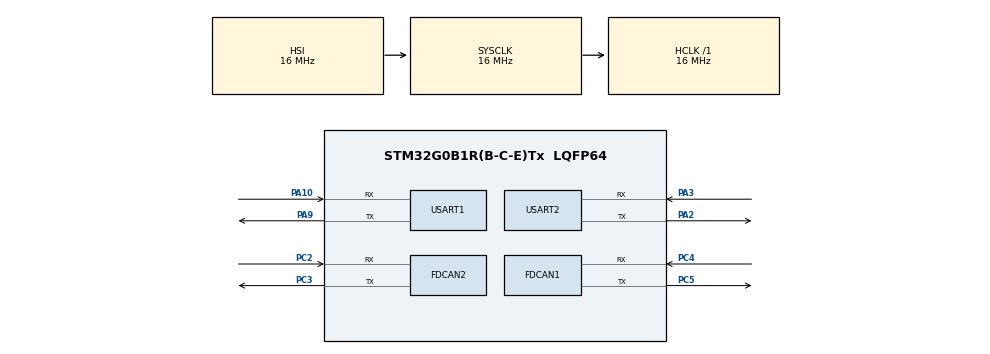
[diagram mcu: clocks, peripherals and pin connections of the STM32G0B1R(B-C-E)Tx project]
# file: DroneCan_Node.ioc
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FDCAN1.CalculateBaudRateNominal=333333
FDCAN1.CalculateTimeBitNominal=3000
FDCAN1.CalculateTimeQuantumNominal=1000.0
FDCAN2.CalculateBaudRateNominal=333333
FDCAN2.CalculateTimeBitNominal=3000
FDCAN2.CalculateTimeQuantumNominal=1000.0
Mcu.Family=STM32G0
Mcu.Name=STM32G0B1R(B-C-E)Tx
Mcu.Package=LQFP64
PA10.Mode=Asynchronous
PA10.Signal=USART1_RX
PA2.Mode=Asynchronous
PA2.Signal=USART2_TX
PA3.Mode=Asynchronous
PA3.Signal=USART2_RX
PA9.Mode=Asynchronous
PA9.Signal=USART1_TX
PC2.Mode=FDCAN_Activate
PC2.Signal=FDCAN2_RX
PC3.Mode=FDCAN_Activate
PC3.Signal=FDCAN2_TX
PC4.Mode=FDCAN_Activate
PC4.Signal=FDCAN1_RX
PC5.Mode=FDCAN_Activate
PC5.Signal=FDCAN1_TX
ProjectManager.HeapSize=0x200
ProjectManager.StackSize=0x400
ProjectManager.TargetToolchain=STM32CubeIDE
RCC.AHBFreq_Value=16000000
RCC.CortexFreq_Value=16000000
RCC.EXTERNAL_CLOCK_VALUE=48000
RCC.HCLKFreq_Value=16000000
RCC.HSE_VALUE=8000000
RCC.HSI48_VALUE=48000000
RCC.HSI_VALUE=16000000
RCC.LSE_VALUE=32768
RCC.SYSCLKFreq_VALUE=16000000
RCC.USBFreq_Value=48000000
RCC.VCOOutputFreq_Value=128000000
USART1.VirtualMode-Asynchronous=VM_ASYNC
USART2.VirtualMode-Asynchronous=VM_ASYNC
VP_SYS_VS_DBSignals.Mode=DisableDeadBatterySignals
board=custom

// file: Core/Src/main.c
/* USER CODE BEGIN Header */
/**
  ******************************************************************************
  * @file           : main.c
  * @brief          : Main program body
  ******************************************************************************
  * @attention
  *
  * Copyright (c) 2026 STMicroelectronics.
  * All rights reserved.
  *
  * This software is licensed under terms that can be found in the LICENSE file
  * in the root directory of this software component.
  * If no LICENSE file comes with this software, it is provided AS-IS.
  *
  ******************************************************************************
  */
/* USER CODE END Header */
#include "main.h"
#define HEAP_SIZE 16384

FDCAN_HandleTypeDef hfdcan1;
FDCAN_HandleTypeDef hfdcan2;

UART_HandleTypeDef huart1;
UART_HandleTypeDef huart2;

/* USER CODE BEGIN PV */
static uint8_t canard_heap[4096];

static canard_t canard;
static O1HeapInstance* heap;

/* USER CODE END PV */

void SystemClock_Config(void);
static void MX_GPIO_Init(void);
static void MX_FDCAN1_Init(void);
static void MX_FDCAN2_Init(void);
static void MX_USART1_UART_Init(void);
static void MX_USART2_UART_Init(void);

/* USER CODE BEGIN 0 */
static void on_test_message(
    canard_subscription_t* self,
    canard_us_t timestamp,
    canard_prio_t priority,
    uint_least8_t source_node_id,
    uint_least8_t transfer_id,
    canard_payload_t payload)
{
    (void)self;
    (void)timestamp;
    (void)priority;
    (void)source_node_id;
    (void)transfer_id;

    printf("RX %u bytes: ",
           (unsigned)payload.view.size);

    for (size_t i = 0; i < payload.view.size; i++)
    {
        printf("%c",
               ((const char*)payload.view.data)[i]);
    }

    printf("\r\n");
}
/* USER CODE END 0 */

  static void* memAllocate(canard_mem_t mem, size_t amount)
  {
      (void)mem;
      return o1heapAllocate(heap, amount);
  }

  static void memFree(canard_mem_t mem, size_t amount, void* pointer)
  {
      (void)mem;
      (void)amount;
      o1heapFree(heap, pointer);
  }

static void serial_print(uint8_t *msg){
	  HAL_UART_Transmit(
	        &huart2,
	        msg,
	        strlen((char *)msg),
	        HAL_MAX_DELAY
	    );
}

static canard_us_t canard_now(const canard_t* self)
{
    (void)self;
    return (canard_us_t)HAL_GetTick() * 1000;
}
static bool canard_tx(
    canard_t* self,
    void* user_context,
    canard_us_t deadline,
    uint_least8_t iface_index,
    bool fd,
    uint32_t extended_can_id,
    canard_bytes_t can_data)
{
    (void)self;
    (void)user_context;
    (void)deadline;
    (void)iface_index;

    FDCAN_TxHeaderTypeDef txh;

    txh.Identifier = extended_can_id;
    txh.IdType = FDCAN_EXTENDED_ID;
    txh.TxFrameType = FDCAN_DATA_FRAME;
    txh.DataLength = canard_len_to_dlc[can_data.size] << 16;
    txh.ErrorStateIndicator = FDCAN_ESI_ACTIVE;
    txh.BitRateSwitch = FDCAN_BRS_OFF;
    txh.FDFormat = fd ? FDCAN_FD_CAN : FDCAN_CLASSIC_CAN;
    txh.TxEventFifoControl = FDCAN_NO_TX_EVENTS;
    txh.MessageMarker = 0;

    return HAL_FDCAN_AddMessageToTxFifoQ(
        &hfdcan1,
        &txh,
        (uint8_t*)can_data.data
    ) == HAL_OK;
}

int main(void)
{

  /* MCU Configuration--------------------------------------------------------*/

  /* Reset of all peripherals, Initializes the Flash interface and the Systick. */
  HAL_Init();

  /* Configure the system clock */
  SystemClock_Config();

  /* Initialize all configured peripherals */
  MX_GPIO_Init();
  MX_FDCAN1_Init();
  MX_FDCAN2_Init();
  MX_USART1_UART_Init();
  MX_USART2_UART_Init();
  /* USER CODE BEGIN 2 */
  __attribute__((aligned(8))) static uint8_t heap_memory[HEAP_SIZE];
  heap = o1heapInit(
      heap_memory,
      HEAP_SIZE
  );

  canard_mem_vtable_t allocator =
  {
      .free = memFree,
      .alloc = memAllocate
  };

  canard_mem_set_t mem =
  {
      .tx_transfer = { &allocator, NULL },
      .tx_frame    = { &allocator, NULL },
      .rx_session  = { &allocator, NULL },
      .rx_payload  = { &allocator, NULL },
      .rx_filters  = { &allocator, NULL }
  };

  static const canard_vtable_t canard_vtable =
  {
      .now = canard_now,
      .tx = canard_tx,
      .filter = NULL
  };

  bool ok = canard_new(
      &canard,
	  &canard_vtable,
      mem,
      32,         // TX queue capacity
      12345678,   // seed
      0           // filters
  );

  if (!ok)
  {
      Error_Handler();
  }

  canard_set_node_id(&canard, 42);
  static canard_subscription_t test_sub;

  static const canard_subscription_vtable_t test_vtable =
  {
      .on_message = on_test_message
  };

  canard_subscribe_16b(
      &canard,
      &test_sub,
      7509,
      256,
      CANARD_DEFAULT_TRANSFER_ID_TIMEOUT_us,
      &test_vtable
  );

  serial_print((uint8_t*)"Canard initialized\r\n");
  FDCAN_FilterTypeDef filter;

  filter.IdType = FDCAN_EXTENDED_ID;
  filter.FilterIndex = 0;
  filter.FilterType = FDCAN_FILTER_MASK;
  filter.FilterConfig = FDCAN_FILTER_TO_RXFIFO0;
  filter.FilterID1 = 0x00000000;
  filter.FilterID2 = 0x00000000;

	if (HAL_FDCAN_ConfigFilter(&hfdcan1, &filter) != HAL_OK)
  {
      Error_Handler();
  }

  if (HAL_FDCAN_Start(&hfdcan1) != HAL_OK)
  {
      Error_Handler();
  }

  /* USER CODE END 2 */

  /* Infinite loop */
  /* USER CODE BEGIN WHILE */
  while (1)
  {
      static uint8_t transfer_id = 0;

      const char msg[] = "SENDMSG";

      canard_bytes_chain_t payload =
      {
          .bytes =
          {
              .size = sizeof(msg),
              .data = msg
          },
          .next = NULL
      };

      bool ok = canard_publish_16b(
          &canard,
          1000000,
          CANARD_IFACE_BITMAP_ALL,
          canard_prio_nominal,
          7509,
          transfer_id++,
          payload,
          NULL
      );

      if (ok)
      {
          serial_print("publish ok\r\n");
      }
      else
      {
          serial_print("publish failed\r\n");
      }

      canard_poll(
          &canard,
          CANARD_IFACE_BITMAP_ALL
      );

      if (HAL_FDCAN_GetRxFifoFillLevel(
              &hfdcan1,
              FDCAN_RX_FIFO0) > 0)
      {
          FDCAN_RxHeaderTypeDef rxh;
          uint8_t rxbuf[64];

          if (HAL_FDCAN_GetRxMessage(
                  &hfdcan1,
                  FDCAN_RX_FIFO0,
                  &rxh,
                  rxbuf) == HAL_OK)
          {
              canard_bytes_t data =
              {
                  .size = canard_dlc_to_len[
                      (rxh.DataLength >> 16) & 0xF
                  ],
                  .data = rxbuf
              };

              canard_ingest_frame(
                  &canard,
                  (canard_us_t)HAL_GetTick() * 1000,
                  0,
                  rxh.Identifier,
                  data
              );
              serial_print("Frame recebido\r\n");
          }
      }

      HAL_Delay(1000);
  }
  /* USER CODE END 3 */
}

void SystemClock_Config(void)
{
  RCC_OscInitTypeDef RCC_OscInitStruct = {0};
  RCC_ClkInitTypeDef RCC_ClkInitStruct = {0};

  /** Configure the main internal regulator output voltage
  */
  HAL_PWREx_ControlVoltageScaling(PWR_REGULATOR_VOLTAGE_SCALE1);

  /** Initializes the RCC Oscillators according to the specified parameters
  * in the RCC_OscInitTypeDef structure.
  */
  RCC_OscInitStruct.OscillatorType = RCC_OSCILLATORTYPE_HSI;
  RCC_OscInitStruct.HSIState = RCC_HSI_ON;
  RCC_OscInitStruct.HSIDiv = RCC_HSI_DIV1;
  RCC_OscInitStruct.HSICalibrationValue = RCC_HSICALIBRATION_DEFAULT;
  RCC_OscInitStruct.PLL.PLLState = RCC_PLL_NONE;
  if (HAL_RCC_OscConfig(&RCC_OscInitStruct) != HAL_OK)
  {
    Error_Handler();
  }

  /** Initializes the CPU, AHB and APB buses clocks
  */
  RCC_ClkInitStruct.ClockType = RCC_CLOCKTYPE_HCLK|RCC_CLOCKTYPE_SYSCLK
                              |RCC_CLOCKTYPE_PCLK1;
  RCC_ClkInitStruct.SYSCLKSource = RCC_SYSCLKSOURCE_HSI;
  RCC_ClkInitStruct.AHBCLKDivider = RCC_SYSCLK_DIV1;
  RCC_ClkInitStruct.APB1CLKDivider = RCC_HCLK_DIV1;

  if (HAL_RCC_ClockConfig(&RCC_ClkInitStruct, FLASH_LATENCY_0) != HAL_OK)
  {
    Error_Handler();
  }
}

static void MX_FDCAN1_Init(void)
{

  hfdcan1.Instance = FDCAN1;
  hfdcan1.Init.ClockDivider = FDCAN_CLOCK_DIV1;
  hfdcan1.Init.FrameFormat = FDCAN_FRAME_CLASSIC;
  //hfdcan1.Init.Mode = FDCAN_MODE_NORMAL;
  hfdcan1.Init.Mode = FDCAN_MODE_INTERNAL_LOOPBACK; //ativar loopback
  hfdcan1.Init.AutoRetransmission = DISABLE;
  hfdcan1.Init.TransmitPause = DISABLE;
  hfdcan1.Init.ProtocolException = DISABLE;
  hfdcan1.Init.NominalPrescaler = 4;
  hfdcan1.Init.NominalSyncJumpWidth = 1;
  hfdcan1.Init.NominalTimeSeg1 = 13;
  hfdcan1.Init.NominalTimeSeg2 = 2;
  hfdcan1.Init.DataPrescaler = 1;
  hfdcan1.Init.DataSyncJumpWidth = 1;
  hfdcan1.Init.DataTimeSeg1 = 1;
  hfdcan1.Init.DataTimeSeg2 = 1;
  hfdcan1.Init.StdFiltersNbr = 1;
  hfdcan1.Init.ExtFiltersNbr = 0;
  hfdcan1.Init.TxFifoQueueMode = FDCAN_TX_FIFO_OPERATION;

  HAL_FDCAN_ConfigGlobalFilter(
      &hfdcan1,
      FDCAN_ACCEPT_IN_RX_FIFO0,
      FDCAN_ACCEPT_IN_RX_FIFO0,
      FDCAN_FILTER_REMOTE,
      FDCAN_FILTER_REMOTE
  );
  if (HAL_FDCAN_Init(&hfdcan1) != HAL_OK)
  {
    Error_Handler();
  }

}

static void MX_FDCAN2_Init(void)
{

  hfdcan2.Instance = FDCAN2;
  hfdcan2.Init.ClockDivider = FDCAN_CLOCK_DIV1;
  hfdcan2.Init.FrameFormat = FDCAN_FRAME_CLASSIC;
  hfdcan2.Init.Mode = FDCAN_MODE_NORMAL;
  hfdcan2.Init.AutoRetransmission = DISABLE;
  hfdcan2.Init.TransmitPause = DISABLE;
  hfdcan2.Init.ProtocolException = DISABLE;
  hfdcan2.Init.NominalPrescaler = 16;
  hfdcan2.Init.NominalSyncJumpWidth = 1;
  hfdcan2.Init.NominalTimeSeg1 = 1;
  hfdcan2.Init.NominalTimeSeg2 = 1;
  hfdcan2.Init.DataPrescaler = 1;
  hfdcan2.Init.DataSyncJumpWidth = 1;
  hfdcan2.Init.DataTimeSeg1 = 1;
  hfdcan2.Init.DataTimeSeg2 = 1;
  hfdcan2.Init.StdFiltersNbr = 0;
  hfdcan2.Init.ExtFiltersNbr = 0;
  hfdcan2.Init.TxFifoQueueMode = FDCAN_TX_FIFO_OPERATION;
  if (HAL_FDCAN_Init(&hfdcan2) != HAL_OK)
  {
    Error_Handler();
  }

}

static void MX_USART1_UART_Init(void)
{

  huart1.Instance = USART1;
  huart1.Init.BaudRate = 115200;
  huart1.Init.WordLength = UART_WORDLENGTH_8B;
  huart1.Init.StopBits = UART_STOPBITS_1;
  huart1.Init.Parity = UART_PARITY_NONE;
  huart1.Init.Mode = UART_MODE_TX_RX;
  huart1.Init.HwFlowCtl = UART_HWCONTROL_NONE;
  huart1.Init.OverSampling = UART_OVERSAMPLING_16;
  huart1.Init.OneBitSampling = UART_ONE_BIT_SAMPLE_DISABLE;
  huart1.Init.ClockPrescaler = UART_PRESCALER_DIV1;
  huart1.AdvancedInit.AdvFeatureInit = UART_ADVFEATURE_NO_INIT;
  if (HAL_UART_Init(&huart1) != HAL_OK)
  {
    Error_Handler();
  }
  if (HAL_UARTEx_SetTxFifoThreshold(&huart1, UART_TXFIFO_THRESHOLD_1_8) != HAL_OK)
  {
    Error_Handler();
  }
  if (HAL_UARTEx_SetRxFifoThreshold(&huart1, UART_RXFIFO_THRESHOLD_1_8) != HAL_OK)
  {
    Error_Handler();
  }
  if (HAL_UARTEx_DisableFifoMode(&huart1) != HAL_OK)
  {
    Error_Handler();
  }

}

static void MX_USART2_UART_Init(void)
{

  huart2.Instance = USART2;
  huart2.Init.BaudRate = 115200;
  huart2.Init.WordLength = UART_WORDLENGTH_8B;
  huart2.Init.StopBits = UART_STOPBITS_1;
  huart2.Init.Parity = UART_PARITY_NONE;
  huart2.Init.Mode = UART_MODE_TX_RX;
  huart2.Init.HwFlowCtl = UART_HWCONTROL_NONE;
  huart2.Init.OverSampling = UART_OVERSAMPLING_16;
  huart2.Init.OneBitSampling = UART_ONE_BIT_SAMPLE_DISABLE;
  huart2.Init.ClockPrescaler = UART_PRESCALER_DIV1;
  huart2.AdvancedInit.AdvFeatureInit = UART_ADVFEATURE_NO_INIT;
  if (HAL_UART_Init(&huart2) != HAL_OK)
  {
    Error_Handler();
  }
  if (HAL_UARTEx_SetTxFifoThreshold(&huart2, UART_TXFIFO_THRESHOLD_1_8) != HAL_OK)
  {
    Error_Handler();
  }
  if (HAL_UARTEx_SetRxFifoThreshold(&huart2, UART_RXFIFO_THRESHOLD_1_8) != HAL_OK)
  {
    Error_Handler();
  }
  if (HAL_UARTEx_DisableFifoMode(&huart2) != HAL_OK)
  {
    Error_Handler();
  }

}

static void MX_GPIO_Init(void)
{

  /* GPIO Ports Clock Enable */
  __HAL_RCC_GPIOC_CLK_ENABLE();
  __HAL_RCC_GPIOA_CLK_ENABLE();

}

/* USER CODE BEGIN 4 */

int _write(int file, char *ptr, int len)
{
    HAL_UART_Transmit(&huart2,
                      (uint8_t *)ptr,
                      len,
                      HAL_MAX_DELAY);
    return len;
}
/* USER CODE END 4 */

void Error_Handler(void)
{
  __disable_irq();
  while (1)
  {
  }
}
